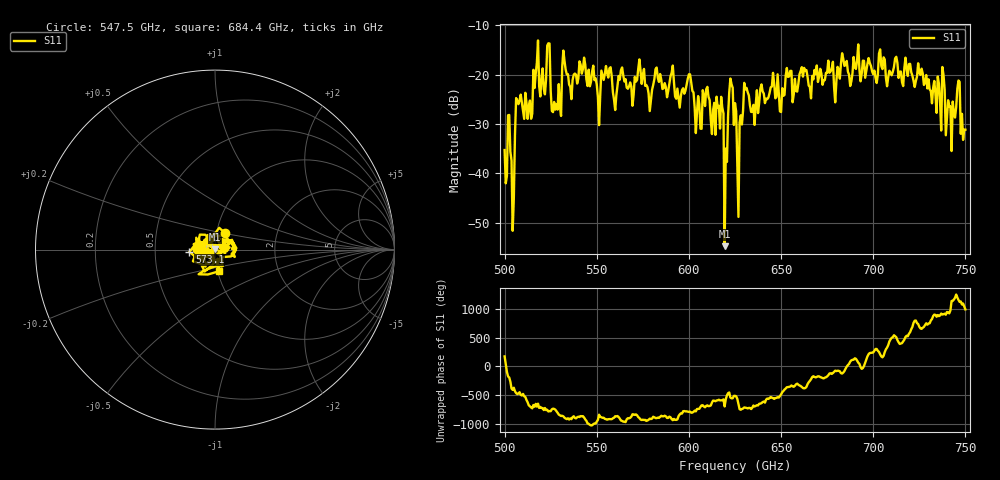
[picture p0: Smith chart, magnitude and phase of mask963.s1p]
!Created with skrf (http://scikit-rf.org).
# GHz S MA R 50.0
!freq magS11 angS11
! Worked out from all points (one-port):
!   401 points, 500 GHz to 750 GHz, reference 50 ohm
!   lowest |S11| = -54.7 dB at 619.4 GHz (marker M1), VSWR 1.00, Z = 50.2 + j0.0818 ohm
!   |S11| at or under -10 dB: start of sweep to end of sweep
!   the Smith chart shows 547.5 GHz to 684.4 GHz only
!   S11 on the Smith chart (normalised r, x): 547.5 GHz: 1.09, +0.21; 573.1 GHz: 0.75, -0.02; 684.4 GHz: 1.01, -0.25
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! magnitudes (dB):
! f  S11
! 500 GHz  -35.3
! 502.5 GHz  -28.1
! 504.4 GHz  -51.6
! 507.5 GHz  -26.0
! 513.8 GHz  -25.2
! 516.9 GHz  -19.8
! 523.8 GHz  -13.6
! 526.9 GHz  -25.5
! 531.2 GHz  -18.4
! 547.5 GHz  -19.3
! 562.5 GHz  -21.0
! 573.1 GHz  -16.9
! 593.8 GHz  -22.8
! 616.2 GHz  -26.3
! 619.4 GHz  -54.7
! 620.6 GHz  -37.7
! 622.5 GHz  -20.8
! 625 GHz  -25.8
! 627.5 GHz  -29.7
! 631.2 GHz  -22.7
! 634.4 GHz  -27.5
! 656.2 GHz  -25.6
! 684.4 GHz  -18.2
! 687.5 GHz  -22.3
! 718.8 GHz  -20.2
! 741.2 GHz  -26.4
! 745.6 GHz  -22.9
! 750 GHz  -31.1
